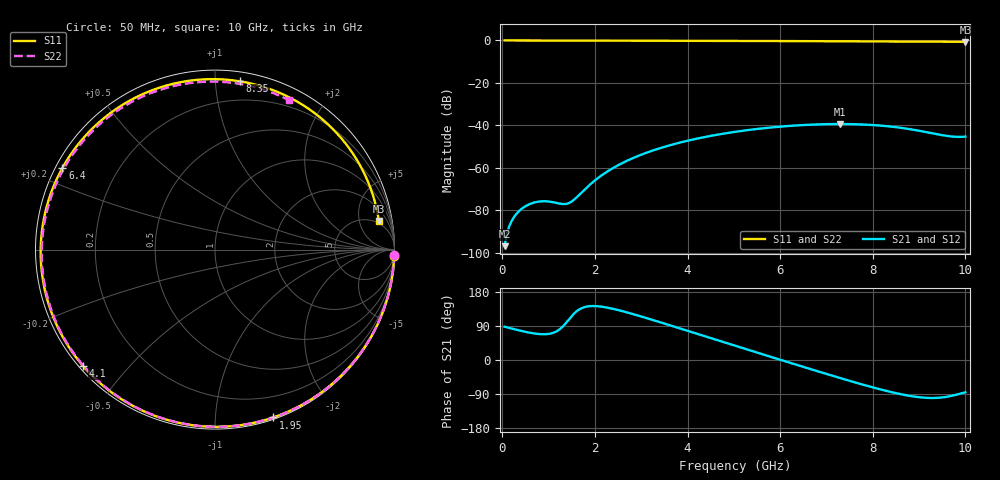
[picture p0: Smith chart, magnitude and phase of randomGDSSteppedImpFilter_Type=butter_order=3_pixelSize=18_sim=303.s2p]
! freq	dB(S11)	phase(S11)	dB(S12)	phase(S12)
!  dB(S21)	phase(S21)	dB(S22)	phase(S22)
!S-par simulation data
#  GHz  S  DB  R 50
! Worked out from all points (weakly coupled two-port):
!   200 points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, 50 MHz to 10 GHz, reference 50 ohm
!   highest |S21| = -39.36 dB at 7.3 GHz (marker M1); lowest = -96.9 dB at 50 MHz (marker M2)
!   lowest |S11| = -0.7 dB at 10 GHz (marker M3), VSWR 26.35, Z = 212 + j482 ohm
!   |S11| at or under -10 dB: nowhere
!   |S22| runs from -0.6 to 0.0 dB; largest |S21 - S12| = 0
!   S11 on the Smith chart (normalised r, x): 50 MHz: 1, -60; 1.95 GHz: 0.01, -1.41; 4.1 GHz: 0.01, -0.38; 6.4 GHz: 0.02, +0.25; 8.35 GHz: 0.06, +1.16; 10 GHz: 4, +10
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0.05  -0.01 -1.9  -96.89 87.9  -96.89 87.9  -0.01 -1.6
0.35  -0.02 -13.2  -80.61 78.5  -80.61 78.5  -0.01 -11.1
0.6  -0.03 -22.6  -77.00 71.8  -77.00 71.8  -0.02 -18.9
0.8  -0.04 -30.0  -75.86 68.4  -75.86 68.4  -0.03 -25.2
1.4  -0.06 -51.7  -76.87 101.3  -76.87 101.3  -0.05 -43.5
1.55  -0.07 -57.0  -74.98 122.6  -74.98 122.6  -0.06 -48.1
1.75  -0.08 -64.0  -70.82 138.6  -70.82 138.6  -0.07 -54.0
1.95  -0.09 -70.8  -66.83 142.4  -66.83 142.4  -0.07 -59.9
2.6  -0.11 -92.4  -57.64 128.7  -57.64 128.7  -0.10 -78.6
3.4  -0.14 -117.5  -50.77 99.9  -50.77 99.9  -0.13 -100.7
4.1  -0.17 -138.6  -46.74 73.2  -46.74 73.2  -0.16 -119.2
5.05  -0.23 -166.7  -42.97 36.8  -42.97 36.8  -0.21 -143.9
5.75  -0.27 172.2  -41.10 10.1  -41.10 10.1  -0.26 -162.1
6.4  -0.32 151.9  -39.96 -14.4  -39.96 -14.4  -0.31 -179.3
6.7  -0.34 142.1  -39.63 -25.7  -39.63 -25.7  -0.33 172.5
7.3  -0.38 121.5  -39.36 -47.8  -39.36 -47.8  -0.38 155.4
7.85  -0.43 101.2  -39.65 -67.2  -39.65 -67.2  -0.44 138.9
8.35  -0.47 81.6  -40.48 -83.3  -40.48 -83.3  -0.49 122.9
8.7  -0.49 67.2  -41.44 -92.6  -41.44 -92.6  -0.52 111.1
9.1  -0.53 50.1  -42.94 -99.4  -42.94 -99.4  -0.56 97.1
9.55  -0.59 30.2  -44.80 -98.0  -44.80 -98.0  -0.60 80.6
10  -0.66 10.0  -45.28 -85.2  -45.28 -85.2  -0.64 63.6
